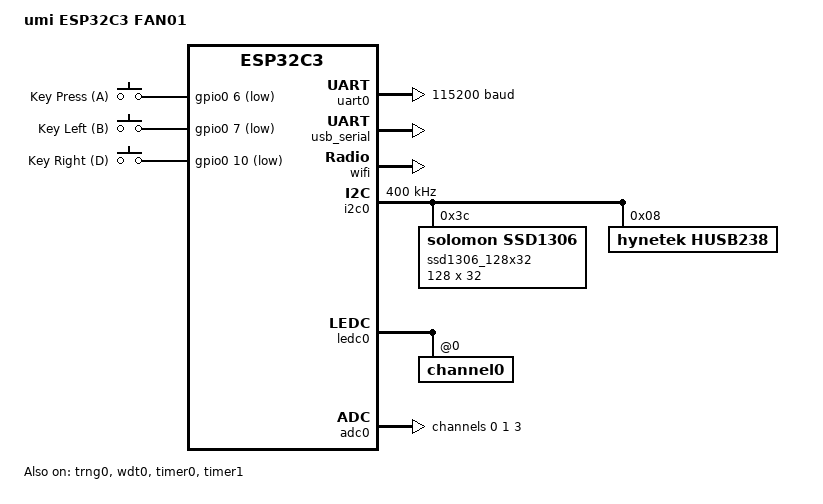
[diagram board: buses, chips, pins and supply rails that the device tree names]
/*
 * Copyright (c) 2024 umi
 *
 * SPDX-License-Identifier: Apache-2.0
 */

/dts-v1/;

#include <espressif/esp32c3/esp32c3.dtsi>
#include <zephyr/dt-bindings/input/input-event-codes.h>
#include <zephyr/dt-bindings/pwm/pwm.h>
#include "esp32c3_fan01-pinctrl.dtsi"
#include "esp32c3_fan01_partitions.dtsi"

/ {
	model = "umi ESP32C3 FAN01";
	compatible = "umi,esp32c3-fan01";

	chosen {
		zephyr,sram = &sram1;
		zephyr,console = &usb_serial;
		zephyr,shell-uart = &usb_serial;
		zephyr,flash = &flash0;
		zephyr,code-partition = &slot0_partition;
		zephyr,display = &ssd1306_128x32;
	};

	aliases {
		watchdog0 = &wdt0;
		i2c-0 = &i2c0;
		pwm-0 = &ledc0;
	};

	buttons: buttons {
		compatible = "gpio-keys";
		debounce-interval-ms = <20>;

		key_press: key_press {
			gpios = <&gpio0 6 (GPIO_PULL_UP | GPIO_ACTIVE_LOW)>;
			label = "Key Press (A)";
			zephyr,code = <INPUT_KEY_ENTER>;
		};

		key_left: key_left {
			gpios = <&gpio0 7 (GPIO_PULL_UP | GPIO_ACTIVE_LOW)>;
			label = "Key Left (B)";
			zephyr,code = <INPUT_KEY_LEFT>;
		};

		key_right: key_right {
			gpios = <&gpio0 10 (GPIO_PULL_UP | GPIO_ACTIVE_LOW)>;
			label = "Key Right (D)";
			zephyr,code = <INPUT_KEY_RIGHT>;
		};
	};
};

/* Serial0: RX=GPIO20, TX=GPIO21 */
&uart0 {
	status = "okay";
	current-speed = <115200>;
	pinctrl-0 = <&uart0_default>;
	pinctrl-names = "default";
};

/* USB Serial/JTAG (GPIO18=DN, GPIO19=DP) */
&usb_serial {
	status = "okay";
};

&trng0 {
	status = "okay";
};

&gpio0 {
	status = "okay";
};

&wdt0 {
	status = "okay";
};

&timer0 {
	status = "okay";
};

&timer1 {
	status = "okay";
};

&wifi {
	status = "okay";
};

/* I2C0: SCL=GPIO8, SDA=GPIO9 (SSD1306 128x32 + HUSB238 PD) */
&i2c0 {
	status = "okay";
	clock-frequency = <I2C_BITRATE_FAST>;
	pinctrl-0 = <&i2c0_default>;
	pinctrl-names = "default";
	#address-cells = <1>;
	#size-cells = <0>;

	ssd1306_128x32: ssd1306@3c {
		compatible = "solomon,ssd1306";
		reg = <0x3c>;
		width = <128>;
		height = <32>;
		ready-time-ms = <200>;
		segment-offset = <0>;
		page-offset = <0>;
		display-offset = <0>;
		multiplex-ratio = <31>;
		segment-remap;
		com-invdir;
		com-sequential;
		prechargep = <0x22>;
	};

	husb238: husb238@8 {
		compatible = "hynetek,husb238";
		reg = <0x08>;
		status = "okay";
	};
};

/* LEDC0: CH0=GPIO13 (1.5kHz inverted PWM for fan) */
&ledc0 {
	status = "okay";
	pinctrl-0 = <&ledc0_default>;
	pinctrl-names = "default";
	#address-cells = <1>;
	#size-cells = <0>;

	channel0@0 {
		reg = <0x0>;
		timer = <0>;
		inverted;
	};
};

/* ADC1: CH0=GPIO0 (风扇电流), CH1=GPIO1 (风扇电压), CH3=GPIO3 (输入电压) */
&adc0 {
	status = "okay";
	#address-cells = <1>;
	#size-cells = <0>;

	channel@0 {
		reg = <0>;
		zephyr,gain = "ADC_GAIN_1_4";
		zephyr,reference = "ADC_REF_INTERNAL";
		zephyr,acquisition-time = <ADC_ACQ_TIME_DEFAULT>;
		zephyr,resolution = <12>;
	};

	channel@1 {
		reg = <1>;
		zephyr,gain = "ADC_GAIN_1_4";
		zephyr,reference = "ADC_REF_INTERNAL";
		zephyr,acquisition-time = <ADC_ACQ_TIME_DEFAULT>;
		zephyr,resolution = <12>;
	};

	channel@3 {
		reg = <3>;
		zephyr,gain = "ADC_GAIN_1_4";
		zephyr,reference = "ADC_REF_INTERNAL";
		zephyr,acquisition-time = <ADC_ACQ_TIME_DEFAULT>;
		zephyr,resolution = <12>;
	};
};
